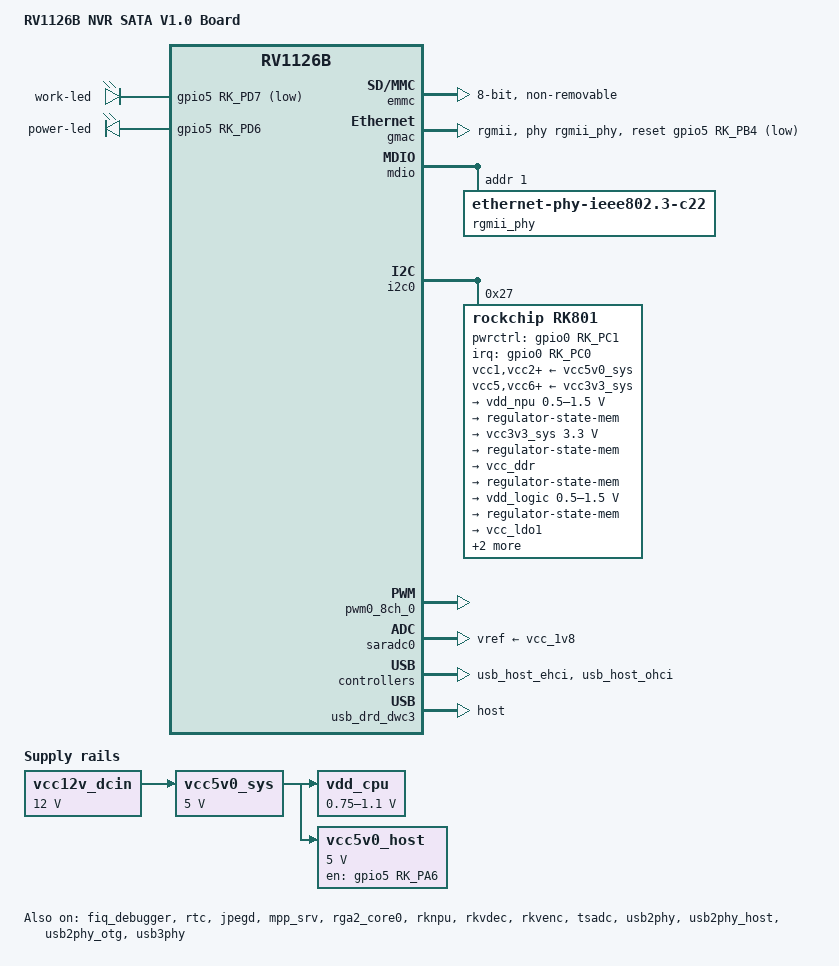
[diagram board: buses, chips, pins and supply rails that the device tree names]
// SPDX-License-Identifier: (GPL-2.0+ OR MIT)
/*
 * NVR 板 RV1126B SATA 版(原理图 UMI-NVR-RV1126B-V1.0,2026-01-27):
 * LPDDR3、eMMC 系统盘、RK801 PMIC、SoC 内置 RTC(CR1220 备电)、
 * 千兆 RGMII(BOM 定为 RTL8211F-CG,M1 引脚组)、
 * USB 百兆网口 RTL8152B、SATA 硬盘位走 JMS578 USB3-SATA 桥(RV1126B 无原生 SATA)。
 *
 * 本文件不 include EVB dtsi(EVB 带摄像头/MIPI 屏/WiFi,本板都没有),电源树与 PMIC
 * 节点照官方 rv1126b-evb1-v12 的写法(同为 CPU PWM 调压、NPU 由 RK801 DCDC1 供电)。
 *
 * USB 拓扑(原理图第 5/14/15/28/29 页):
 *   - DRD 控制器:USB2 对 → PL2586 四口 hub 上游;hub 下游 2 路接前面板 USB-A(5V 由
 *     USB2_HOST_PWREN_H 控制),第 4 路接 RTL8152B。USB3 差分对直连 JMS578,
 *     所以 dwc3 固定 host 模式,SS 走 xhci、硬盘盒即 SATA 盘
 *   - EHCI host 口:接 JMS578 的 USB2 对(SS 链路建不起来时的降级路径)
 *   - 板上无 USB-C/OTG 下载口,烧录走 MaskRom(SARADC0_IN7 的 maskrom 测试点)
 *
 * 未配:音频(SoC codec + 耳机/MIC,第 9/23/24 页)、WiFi 模组位(第 21 页,预留未贴)、
 * SARADC0_IN0 的单按键(SW9204,用途未定)、LED_PWM_WHITE/IR 与 I2C2 sensor(未引出)。
 * 无 SD 卡槽(SDMMC0 引脚未出线)。
 *
 * ⚠ 未上真机:GPIO 极性、RGMII 时延、PMIC 电压均待实板核对,见各节点注释。
 */

/dts-v1/;

#include "rv1126b.dtsi"

/ {
	model = "RV1126B NVR SATA V1.0 Board";
	compatible = "rockchip,rv1126b-nvr-sata-v1.0", "rockchip,rv1126b";

	chosen {
		/* net_cls/net_prio 只有 cgroup v1 才有,按 cgroup 分流的脚本依赖它们;
		 * systemd 默认走 v2 统一层级,这里切回 v1 层级 */
		bootargs = "earlycon=uart8250,mmio32,0x20810000 console=ttyFIQ0 rw root=PARTUUID=614e0000-0000 rootfstype=ext4 rootwait coherent_pool=32K systemd.unified_cgroup_hierarchy=0";
	};

	/*
	 * 两颗可控灯(第 8/11/12 页):
	 * - work-led:LED2300 黄灯 "System_Work_LED",阳极经 4.7K 接 VCC_3V3,阴极接 GPIO5_D7
	 *   (净标 WORK_PWM_LED),拉低点亮。产测 nvr-factory 按 /sys/class/leds/work-led 驱动它
	 * - power-led:LED2000 绿灯 "System_Power_LED",GPIO5_D6(净标 SATA_LED)经 510R 接阳极,
	 *   阴极接 SATA 电源座第 11 脚 SATA_DAS(硬盘自己的活动指示输出);另有一颗蓝灯 LED1
	 *   反并联在同一对网络上。绿灯需 GPIO 高且 DAS 低才亮:不插硬盘时 DAS 悬空、没有回路,
	 *   这颗"电源灯"不会亮;DAS 空闲电平随硬盘而异,极性待实测
	 * GPIO5_D6/D7 由芯片引脚表(IRFPA_FSYNC/IRFPA_MCLK 为 VCCIO5 域最后两脚)推定
	 */
	gpio-leds {
		compatible = "gpio-leds";
		pinctrl-names = "default";
		pinctrl-0 = <&led_pins>;

		work-led {
			label = "work-led";
			gpios = <&gpio5 RK_PD7 GPIO_ACTIVE_LOW>;
			linux,default-trigger = "default-on";
		};

		power-led {
			label = "power-led";
			gpios = <&gpio5 RK_PD6 GPIO_ACTIVE_HIGH>;
			linux,default-trigger = "default-on";
		};
	};

	vcc12v_dcin: vcc12v-dcin {
		compatible = "regulator-fixed";
		regulator-name = "vcc12v_dcin";
		regulator-always-on;
		regulator-boot-on;
		regulator-min-microvolt = <12000000>;
		regulator-max-microvolt = <12000000>;
	};

	/* ETA8120/TMI3253 降压,实为 5.2V(第 11 页),按 5V 声明 */
	vcc5v0_sys: vcc5v0-sys {
		compatible = "regulator-fixed";
		regulator-name = "vcc5v0_sys";
		regulator-always-on;
		regulator-boot-on;
		regulator-min-microvolt = <5000000>;
		regulator-max-microvolt = <5000000>;
		vin-supply = <&vcc12v_dcin>;
	};

	/*
	 * CPU 独立降压 TMI3112H(第 13 页 Option 1),PWM_CPU(GPIO0_C4,pwm0 通道 0)调反馈,
	 * 原理图标注范围 0.8~1.15V、默认 0.95V;参数照官方 EVB1 V12 同一电路
	 */
	vdd_cpu: vdd-cpu {
		compatible = "pwm-regulator";
		pwms = <&pwm0_8ch_0 0 25000 1>;
		regulator-name = "vdd_cpu";
		regulator-init-microvolt = <950000>;
		regulator-min-microvolt = <750000>;
		regulator-max-microvolt = <1100000>;
		regulator-always-on;
		regulator-boot-on;
		pwm-supply = <&vcc5v0_sys>;
	};

	/* USB2_HOST_PWREN_H(GPIO5_A6)使能 SGM2590 负载开关,给 hub 下游两个 USB-A 供 5V(第 15 页) */
	vcc5v0_host: vcc5v0-host {
		compatible = "regulator-fixed";
		regulator-name = "vcc5v0_host";
		regulator-boot-on;
		regulator-always-on;
		regulator-min-microvolt = <5000000>;
		regulator-max-microvolt = <5000000>;
		enable-active-high;
		gpio = <&gpio5 RK_PA6 GPIO_ACTIVE_HIGH>;
		vin-supply = <&vcc5v0_sys>;
		pinctrl-names = "default";
		pinctrl-0 = <&vcc5v0_host_en>;
	};
};

&cpu0 {
	cpu-supply = <&vdd_cpu>;
};

/* 照官方 EVB;eMMC VCCIO_FLASH 接 VCC_1V8(第 4 页 R1317),HS200 可用 */
&emmc {
	bus-width = <8>;
	cap-mmc-highspeed;
	non-removable;
	mmc-hs200-1_8v;
	rockchip,default-sample-phase = <90>;
	no-sdio;
	no-sd;
	status = "okay";
};

&fiq_debugger {
	pinctrl-names = "default";
	pinctrl-0 = <&uart0m2_xfer_pins>;
	status = "okay";
};

/* 调试口 UART0_TX/RX_DBG 在 GPIO0_B3/B4(uart0 的 m2 组,第 2 页);SoC 默认 m0 组在 GPIO2_A0/A1 */
&uart0 {
	pinctrl-0 = <&uart0m2_xfer_pins>;
};

/*
 * 千兆 RGMII,PHY 用 M1 引脚组(第 8 页 GMAC_*_M1)。PHY 25MHz 由 SoC 的
 * CLK_OUT_ETHERNET_M1 输出(第 22 页 Option1 R6614 贴 0R,晶振 Option2 不贴)。
 * PHY 复位 GEPHY_RST_3V3IO = GPIO5_B4,低有效。
 */
&gmac {
	phy-mode = "rgmii";
	clock_in_out = "output";
	assigned-clocks = <&cru CLK_MAC_OUT2IO>;
	assigned-clock-rates = <25000000>;

	snps,reset-gpio = <&gpio5 RK_PB4 GPIO_ACTIVE_LOW>;
	snps,reset-active-low;
	snps,reset-delays-us = <0 20000 100000>;

	pinctrl-names = "default";
	pinctrl-0 = <&ethm1_miim_pins
		     &ethm1_tx_bus2_pins
		     &ethm1_rx_bus2_pins
		     &ethm1_rgmii_clk_pins
		     &ethm1_rgmii_bus_pins
		     &eth_clk_25mm1_out_pins>;

	/*
	 * ⚠ 时延待本板实测标定:先借官方 rv1126bp EVB 的 RGMII 值。Luckfox Aura 上这组值 RX 贴着
	 * 窗口下沿、千兆大包丢包 25%,最终取 0x3f/0x22;本板走线不同,不能照搬。
	 * 标定方法:内核片段开 DWMAC_ROCKCHIP_TOOL,sysfs 下 phy_lb_scan 千兆环回扫描取主窗口中心,
	 * 不要用工具打印的平均值(通过区分岛时平均值可能落在空白区)
	 */
	tx_delay = <0x36>;
	rx_delay = <0x2c>;

	phy-handle = <&rgmii_phy>;
	status = "okay";
};

&mdio {
	/*
	 * BOM(2026-10-22)定为 RTL8211F-CG;原理图第 22 页按 YT8531C 画,两者封装兼容但 strap 含义不同,
	 * PHY 地址、RGMII 时延 strap、LED 行为都要上板读回确认,地址对不上就改 reg(或用 mdio 扫描结果)。
	 * ⚠ BOM 同时贴了 Y6600 25MHz 晶振、R6614 0R(MAC 时钟进 XTAL_OUT)和 R6612 0R(XTAL_IN 接地),
	 * 三者互斥;RTL8211F 的外部时钟只能从 XTAL_IN 进,按现 BOM PHY 没有时钟。硬件改法见 CLAUDE.md。
	 * 这里保持 SoC 输出 25M 并引用该时钟,PHY 无论改成晶振还是外部时钟都不用改 dts。
	 * clocks 必须给:没人引用的时钟会在启动后期被当闲置关掉,
	 * 表现为 PHY ID 能读但永远 NO-CARRIER(Luckfox Aura 实测踩过)
	 */
	rgmii_phy: ethernet-phy@1 {
		compatible = "ethernet-phy-ieee802.3-c22";
		reg = <1>;
		clocks = <&cru CLK_MAC_OUT2IO>;
	};
};

/*
 * RK801 PMIC(第 12 页,I2C0 地址 0x27,PMIC_INT GPIO0_C0,PWR_CTRL GPIO0_C1):
 * DCDC1 VDD_NPU / DCDC2 VCC3V3_SYS / DCDC3 VCC_DDR(反馈电阻按 LPDDR3 配 1.21V)/
 * DCDC4 VDD_LOGIC / LDO1 VCC_LDO1(板上未使用)/ LDO2 VCC_1V8 / SWITCH VCC_3V3。
 * 节点照官方 EVB1 V12,VCC_DDR 电压由硬件反馈电阻决定,不在此设置
 */
&i2c0 {
	status = "okay";

	rk801: rk801@27 {
		compatible = "rockchip,rk801";
		status = "okay";
		reg = <0x27>;
		interrupt-parent = <&gpio0>;
		interrupts = <RK_PC0 IRQ_TYPE_LEVEL_LOW>;
		pwrctrl-gpios = <&gpio0 RK_PC1 GPIO_ACTIVE_HIGH>;

		pinctrl-names = "default", "pmic-reset";
		pinctrl-0 = <&pmic_int>;
		pinctrl-1 = <&soc_pwrctrl_reset>;
		rockchip,system-power-controller;
		wakeup-source;

		vcc1-supply = <&vcc5v0_sys>;
		vcc2-supply = <&vcc5v0_sys>;
		vcc3-supply = <&vcc5v0_sys>;
		vcc4-supply = <&vcc5v0_sys>;
		vcc5-supply = <&vcc3v3_sys>;
		vcc6-supply = <&vcc3v3_sys>;
		vcc7-supply = <&vcc3v3_sys>;

		regulators {
			vdd_npu: DCDC_REG1 {
				regulator-name = "vdd_npu";
				regulator-min-microvolt = <500000>;
				regulator-max-microvolt = <1500000>;
				regulator-initial-mode = <0x1>;
				regulator-boot-on;
				regulator-always-on;
				regulator-state-mem {
					regulator-mode = <0x2>;
					regulator-off-in-suspend;
					regulator-suspend-microvolt = <950000>;
				};
			};

			vcc3v3_sys: DCDC_REG2 {
				regulator-name = "vcc3v3_sys";
				regulator-min-microvolt = <3300000>;
				regulator-max-microvolt = <3300000>;
				regulator-initial-mode = <0x1>;
				regulator-boot-on;
				regulator-always-on;
				regulator-state-mem {
					regulator-mode = <0x2>;
					regulator-on-in-suspend;
					regulator-suspend-microvolt = <3300000>;
				};
			};

			vcc_ddr: DCDC_REG3 {
				regulator-name = "vcc_ddr";
				regulator-boot-on;
				regulator-always-on;
				regulator-state-mem {
					regulator-mode = <0x2>;
					regulator-on-in-suspend;
				};
			};

			vdd_logic: DCDC_REG4 {
				regulator-name = "vdd_logic";
				regulator-min-microvolt = <500000>;
				regulator-max-microvolt = <1500000>;
				regulator-initial-mode = <0x1>;
				regulator-boot-on;
				regulator-always-on;
				regulator-state-mem {
					regulator-mode = <0x2>;
					regulator-off-in-suspend;
					regulator-suspend-microvolt = <900000>;
				};
			};

			/* 原理图净标 VCC_LDO1,无负载;保持 PMIC 默认电压,不在此约束 */
			vcc_ldo1: LDO_REG1 {
				regulator-name = "vcc_ldo1";
				regulator-boot-on;
				regulator-always-on;
				regulator-state-mem {
					regulator-off-in-suspend;
				};
			};

			vcc_1v8: LDO_REG2 {
				regulator-name = "vcc_1v8";
				regulator-min-microvolt = <1800000>;
				regulator-max-microvolt = <1800000>;
				regulator-boot-on;
				regulator-always-on;
				regulator-state-mem {
					regulator-off-in-suspend;
					regulator-suspend-microvolt = <1800000>;
				};
			};

			vcc_3v3: SWITCH_REG {
				regulator-name = "vcc_3v3";
				regulator-boot-on;
				regulator-always-on;
				regulator-state-mem {
					regulator-off-in-suspend;
					regulator-suspend-microvolt = <3300000>;
				};
			};
		};
	};
};

&pinctrl {
	leds {
		led_pins: led-pins {
			rockchip,pins =
				<5 RK_PD6 RK_FUNC_GPIO &pcfg_pull_none>,
				<5 RK_PD7 RK_FUNC_GPIO &pcfg_pull_none>;
		};
	};

	pmic {
		pmic_int: pmic-int {
			rockchip,pins = <0 RK_PC0 RK_FUNC_GPIO &pcfg_pull_up>;
		};

		soc_pwrctrl_reset: soc-pwrctrl-reset {
			rockchip,pins = <0 RK_PC1 RK_FUNC_GPIO &pcfg_output_high>;
		};
	};

	usb {
		vcc5v0_host_en: vcc5v0-host-en {
			rockchip,pins = <5 RK_PA6 RK_FUNC_GPIO &pcfg_pull_none>;
		};
	};
};

/* CPU 调压 PWM(通道 0 的 pinctrl 在 SoC dtsi 里已指向 pwm0m0_ch0_pins = GPIO0_C4) */
&pwm0_8ch_0 {
	status = "okay";
};

/* SoC 内置 RTC,32.768k 晶振 + CR1220 经 R1124 供 RTC_AVDD(第 2/11 页) */
&rtc {
	rockchip,rtc-suspend-bypass;
	status = "okay";
};

/*
 * SARADC0:IN0 单按键(SW9204,按下经 100R 到地)、IN2 板型 ID(10K/10K 分压 0.9V)、
 * IN7 启动模式(10K 上拉,自动模式)。按键用途未定,暂不挂 adc-keys(避免 100ms 轮询空转)
 */
&saradc0 {
	vref-supply = <&vcc_1v8>;
	status = "okay";
};

/* 以下为 SoC 内部的编解码、NPU、RGA 与温控,照官方 EVB 开启 */
&jpegd {
	status = "okay";
};

&mpp_srv {
	status = "okay";
};

&rga2_core0 {
	status = "okay";
};

&rga2_core0_mmu {
	status = "okay";
};

&rknpu {
	rknpu-supply = <&vdd_npu>;
	status = "okay";
};

&rknpu_mmu {
	status = "okay";
};

&rkvdec {
	status = "okay";
};

&rkvdec_mmu {
	status = "okay";
};

&rkvenc {
	status = "okay";
};

&rkvenc_mmu {
	status = "okay";
};

/* 过温保护 hw-tshut-mode 为 CRU 复位(SoC dtsi 默认);TSADC_SHUT 脚经 R1108 0R 接 NPOR_DET(硬复位),
 * 要走引脚复位需改为 GPIO 模式并配 pinctrl,暂不用 */
&tsadc {
	status = "okay";
};

&usb2phy {
	status = "okay";
};

/* EHCI host 口接 JMS578 的 USB2 对;phy-supply 实际给的是 hub 下游 USB-A 的 5V,照 EVB 写法挂在这里 */
&usb2phy_host {
	phy-supply = <&vcc5v0_host>;
	status = "okay";
};

&usb2phy_otg {
	status = "okay";
};

&usb3phy {
	status = "okay";
};

&usb_host_ehci {
	status = "okay";
};

&usb_host_ohci {
	status = "okay";
};

/*
 * DRD 控制器固定 host:USB2 对接 PL2586 hub 上游(hub 下游:2 个 USB-A + RTL8152B),
 * USB3 差分对接 JMS578(SATA 盘)。板上无 ID 脚、无 VBUS 检测(VBUSDET 固定分压),不做 OTG
 */
&usb_drd_dwc3 {
	dr_mode = "host";
	status = "okay";
};
